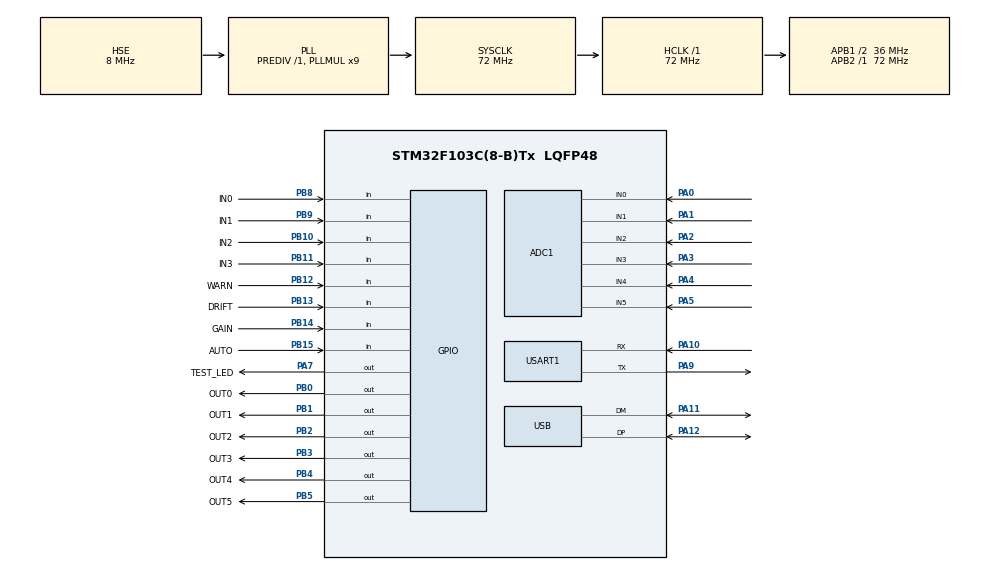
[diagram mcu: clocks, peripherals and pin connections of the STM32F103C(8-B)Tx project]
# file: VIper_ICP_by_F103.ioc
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ADC1.Channel-0\#ChannelRegularConversion=ADC_CHANNEL_0
ADC1.Channel-1\#ChannelRegularConversion=ADC_CHANNEL_1
ADC1.Channel-2\#ChannelRegularConversion=ADC_CHANNEL_2
ADC1.Channel-3\#ChannelRegularConversion=ADC_CHANNEL_3
ADC1.Channel-4\#ChannelRegularConversion=ADC_CHANNEL_4
ADC1.Channel-5\#ChannelRegularConversion=ADC_CHANNEL_5
ADC1.DiscontinuousConvMode=ENABLE
ADC1.NbrOfConversion=6
ADC1.NbrOfConversionFlag=1
ADC1.Rank-0\#ChannelRegularConversion=1
ADC1.Rank-1\#ChannelRegularConversion=2
ADC1.Rank-2\#ChannelRegularConversion=3
ADC1.Rank-3\#ChannelRegularConversion=4
ADC1.Rank-4\#ChannelRegularConversion=5
ADC1.Rank-5\#ChannelRegularConversion=6
ADC1.SamplingTime-0\#ChannelRegularConversion=ADC_SAMPLETIME_13CYCLES_5
ADC1.SamplingTime-1\#ChannelRegularConversion=ADC_SAMPLETIME_13CYCLES_5
ADC1.SamplingTime-2\#ChannelRegularConversion=ADC_SAMPLETIME_13CYCLES_5
ADC1.SamplingTime-3\#ChannelRegularConversion=ADC_SAMPLETIME_13CYCLES_5
ADC1.SamplingTime-4\#ChannelRegularConversion=ADC_SAMPLETIME_13CYCLES_5
ADC1.SamplingTime-5\#ChannelRegularConversion=ADC_SAMPLETIME_13CYCLES_5
ADC1.master=1
Mcu.Family=STM32F1
Mcu.Name=STM32F103C(8-B)Tx
Mcu.Package=LQFP48
NVIC.PriorityGroup=NVIC_PRIORITYGROUP_4
NVIC.USB_LP_CAN1_RX0_IRQn=true\:0\:0\:false\:false\:true\:false\:true\:true
PA0-WKUP.Signal=ADCx_IN0
PA1.Signal=ADCx_IN1
PA10.Mode=Asynchronous
PA10.Signal=USART1_RX
PA11.Mode=Device
PA11.Signal=USB_DM
PA12.Mode=Device
PA12.Signal=USB_DP
PA13.Mode=Serial_Wire
PA13.Signal=SYS_JTMS-SWDIO
PA14.Mode=Serial_Wire
PA14.Signal=SYS_JTCK-SWCLK
PA2.Signal=ADCx_IN2
PA3.Signal=ADCx_IN3
PA4.Signal=ADCx_IN4
PA5.Signal=ADCx_IN5
PA7.GPIO_Label=TEST_LED
PA7.Signal=GPIO_Output
PA9.Mode=Asynchronous
PA9.Signal=USART1_TX
PB0.GPIO_Label=OUT0
PB0.Signal=GPIO_Output
PB1.GPIO_Label=OUT1
PB1.Signal=GPIO_Output
PB10.GPIO_Label=IN2
PB10.Signal=GPIO_Input
PB11.GPIO_Label=IN3
PB11.Signal=GPIO_Input
PB12.GPIO_Label=WARN
PB12.GPIO_PuPd=GPIO_NOPULL
PB12.Signal=GPIO_Input
PB13.GPIO_Label=DRIFT
PB13.GPIO_PuPd=GPIO_NOPULL
PB13.Signal=GPIO_Input
PB14.GPIO_Label=GAIN
PB14.GPIO_PuPd=GPIO_NOPULL
PB14.Signal=GPIO_Input
PB15.GPIO_Label=AUTO
PB15.GPIO_PuPd=GPIO_NOPULL
PB15.Signal=GPIO_Input
PB2.GPIO_Label=OUT2
PB2.Signal=GPIO_Output
PB3.GPIO_Label=OUT3
PB3.Signal=GPIO_Output
PB4.GPIO_Label=OUT4
PB4.Signal=GPIO_Output
PB5.GPIO_Label=OUT5
PB5.Signal=GPIO_Output
PB8.GPIO_Label=IN0
PB8.Signal=GPIO_Input
PB9.GPIO_Label=IN1
PB9.Signal=GPIO_Input
PC14-OSC32_IN.Mode=LSE-External-Oscillator
PC14-OSC32_IN.Signal=RCC_OSC32_IN
PC15-OSC32_OUT.Mode=LSE-External-Oscillator
PC15-OSC32_OUT.Signal=RCC_OSC32_OUT
PD0-OSC_IN.Mode=HSE-External-Oscillator
PD0-OSC_IN.Signal=RCC_OSC_IN
PD1-OSC_OUT.Mode=HSE-External-Oscillator
PD1-OSC_OUT.Signal=RCC_OSC_OUT
ProjectManager.HeapSize=0x200
ProjectManager.StackSize=0x400
ProjectManager.TargetToolchain=STM32CubeIDE
RCC.ADCPresc=RCC_ADCPCLK2_DIV6
RCC.AHBFreq_Value=72000000
RCC.APB1CLKDivider=RCC_HCLK_DIV2
RCC.APB1Freq_Value=36000000
RCC.APB1TimFreq_Value=72000000
RCC.APB2Freq_Value=72000000
RCC.APB2TimFreq_Value=72000000
RCC.HCLKFreq_Value=72000000
RCC.PLLMUL=RCC_PLL_MUL9
RCC.SYSCLKFreq_VALUE=72000000
RCC.SYSCLKSource=RCC_SYSCLKSOURCE_PLLCLK
RCC.USBFreq_Value=48000000
RCC.USBPrescaler=RCC_USBCLKSOURCE_PLL_DIV1_5
SH.ADCx_IN0.0=ADC1_IN0,IN0
SH.ADCx_IN1.0=ADC1_IN1,IN1
SH.ADCx_IN2.0=ADC1_IN2,IN2
SH.ADCx_IN3.0=ADC1_IN3,IN3
SH.ADCx_IN4.0=ADC1_IN4,IN4
SH.ADCx_IN5.0=ADC1_IN5,IN5
USART1.VirtualMode=VM_ASYNC
USB_DEVICE.CLASS_NAME_FS=CUSTOM_HID
USB_DEVICE.CUSTOM_HID_FS_BINTERVAL=0x20
USB_DEVICE.LANGID_STRING=1041
USB_DEVICE.MANUFACTURER_STRING=Nemuro
USB_DEVICE.PID_CUSTOMHID_FS=0xa001
USB_DEVICE.PRODUCT_STRING_CUSTOMHID_FS=Viper ICP by STM32_F103C8T6
USB_DEVICE.USBD_CUSTOMHID_OUTREPORT_BUF_SIZE=63
USB_DEVICE.USBD_CUSTOM_HID_REPORT_DESC_SIZE=49
USB_DEVICE.USBD_DEBUG_LEVEL=3
USB_DEVICE.VID=6666
USB_DEVICE.VirtualMode=CustomHid
USB_DEVICE.VirtualModeFS=Custom_Hid_FS
VP_USB_DEVICE_VS_USB_DEVICE_CUSTOM_HID_FS.Mode=CUSTOM_HID_FS
board=custom

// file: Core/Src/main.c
/* USER CODE BEGIN Header */
/**
  ******************************************************************************
  * @file           : main.c
  * @brief          : Main program body
  ******************************************************************************
  * @attention
  *
  * Copyright (c) 2023 STMicroelectronics.
  * All rights reserved.
  *
  * This software is licensed under terms that can be found in the LICENSE file
  * in the root directory of this software component.
  * If no LICENSE file comes with this software, it is provided AS-IS.
  *
  ******************************************************************************
  */
/* USER CODE END Header */
#include "main.h"
#include "usb_device.h"

/* USER CODE BEGIN Includes */
#include "stm32f1xx.h"
#include "usbd_customhid.h"
/* USER CODE END Includes */

/* USER CODE BEGIN PM */
/*------EPIN size over wrap------*/
/*  --この記述上手く動かないっぽい
#ifdef CUSTOM_HID_EPIN_SIZE
	#undef CUSTOM_HID_EPIN_SIZE
	#define CUSTOM_HID_EPIN_SIZE	0x11U	//0d17
#endif
#ifndef CUSTOM_HID_EPIN_SIZE
	#define CUSTOM_HID_EPIN_SIZE	0x11U	//0d17
#endif
*/
/*------END EPIN size over wrap------*/
#define __UINT16_TO_UINT8_LOW(NUMuint16) ((uint8_t)(NUMuint16))
#define __UINT16_TO_UINT8_HIGH(NUMuint16) ((uint8_t)((NUMuint16) >> 8))
#define    cbi( addr, bit)       addr &= ~(1 << bit)    // addrのbit目を'0'にする。
#define    sbi( addr, bit)       addr |= (1 << bit)       // addrのbit目を'1'にする。
/* USER CODE END PM */

ADC_HandleTypeDef hadc1;

UART_HandleTypeDef huart1;

/* USER CODE BEGIN PV */
/*------Setting Device Inputs------*/
#define NUM_of_ADC_12bit 6
#define NUM_of_Buttons 40
/*------END Setting Device Inputs------*/
#define ADC_CONVERTED_DATA_BUFFER_SIZE	((uint32_t)	NUM_of_ADC_12bit)
#define BUTTONS_DATA_BUFFER_SIZE ((uint32_t)NUM_of_Buttons / 8)
/*------ KeyMatrix INPUT and OUTPUT Pin Counts ------*/
#define NUM_of_IN 4
#define NUM_of_OUT 6

typedef struct{
uint8_t buttons[BUTTONS_DATA_BUFFER_SIZE];
int8_t axis[NUM_of_ADC_12bit * 2];
}gamepadHID_t;
gamepadHID_t gamepadHID;

ADC_ChannelConfTypeDef sConfig;
uint16_t ADC_val[ADC_CONVERTED_DATA_BUFFER_SIZE];
uint16_t Buttos_Val[BUTTONS_DATA_BUFFER_SIZE];
/* USER CODE END PV */

void SystemClock_Config(void);
static void MX_GPIO_Init(void);
static void MX_ADC1_Init(void);
static void MX_USART1_UART_Init(void);

/* USER CODE BEGIN 0 */
static uint16_t aADCxConvertedData[ADC_CONVERTED_DATA_BUFFER_SIZE];
uint8_t GPIO[2];

void keyMatrix(gamepadHID_t *gamepad){
	uint16_t buttons[NUM_of_OUT];
	GPIOB->ODR = 0x003E;		//0011,1110	//OUT0 だけLOWにする
	buttons[0] = GPIOB->IDR & 0b0000001111000000;
	buttons[0] = buttons[0] >> 6;
	GPIOB->ODR = 0x003D;		//OUT1 だけLOWにする
	buttons[1] = GPIOB->IDR & 0b0000001111000000;
	buttons[1] = buttons[1] >> 6;
	GPIOB->ODR = 0x003B;
	buttons[2] = GPIOB->IDR & 0b0000001111000000;
	buttons[2] = buttons[2] >> 6;
	GPIOB->ODR = 0x0037;
	buttons[3] = GPIOB->IDR & 0b0000001111000000;
	buttons[3] = buttons[3] >> 6;
	GPIOB->ODR = 0x002F;
	buttons[4] = GPIOB->IDR & 0b0000001111000000;
	buttons[4] = buttons[4] >> 6;
	GPIOB->ODR = 0x001F;
	buttons[5] = GPIOB->IDR & 0b0000001111000000;
	buttons[5] = buttons[5] >> 6;
	gamepad->buttons[0] = ~(uint8_t)(buttons[0] | (buttons[1] << 4));
	gamepad->buttons[1] = ~(uint8_t)(buttons[2] | (buttons[3] << 4));
	gamepad->buttons[2] = ~(uint8_t)(buttons[4] | (buttons[5] << 4));
}
void Joy_to_Buttons(gamepadHID_t *gamepad){			//要リファクタリング  なぜなら，この関数はgamepad->[3]の6bit目など 専用関数となるから．＋ sbi,cbiマクロを利用するから
	if(gamepad->axis[3] > 100){		//DCS 上
		sbi(gamepad->buttons[3]	, 6);
		cbi(gamepad->buttons[3]	, 7);
	}else if(gamepad->axis[3] < -100){		//DCS 下
		sbi(gamepad->buttons[3]	, 7);
		cbi(gamepad->buttons[3]	, 6);
	}else{		//DCS 中立
		cbi(gamepad->buttons[3]	, 6);
		cbi(gamepad->buttons[3]	, 7);
	}
	if(gamepad->axis[1] > 100){		//DCS SEQ
		sbi(gamepad->buttons[4]	, 1);
		cbi(gamepad->buttons[4]	, 0);
	}else if(gamepad->axis[1] < -100){		//DCS RTN
		sbi(gamepad->buttons[4]	, 0);
		cbi(gamepad->buttons[4]	, 1);
	}else{		//DCS 中立
		cbi(gamepad->buttons[4]	, 0);
		cbi(gamepad->buttons[4]	, 1);
	}
}
void Way3_Switch(gamepadHID_t *gamepad){
	if(!(GPIOB->IDR & (1 << 12) )){
		sbi(gamepad->buttons[3], 2);
		cbi(gamepad->buttons[3], 1);
	}
	else if(!(GPIOB->IDR & (1 << 13))){
		sbi(gamepad->buttons[3], 0);
		cbi(gamepad->buttons[3], 1);
	}
	else{
		sbi(gamepad->buttons[3], 1);
		cbi(gamepad->buttons[3], 0);
		cbi(gamepad->buttons[3], 2);
	}
	if(!(GPIOB->IDR & (1 << 14))){
		sbi(gamepad->buttons[3], 5);
		cbi(gamepad->buttons[3], 4);
	}
	else if(!(GPIOB->IDR & (1 << 15))){
		sbi(gamepad->buttons[3], 3);
		cbi(gamepad->buttons[3], 4);
	}
	else{
		sbi(gamepad->buttons[3], 4);
		cbi(gamepad->buttons[3], 3);
		cbi(gamepad->buttons[3], 5);
	}
}
/* USER CODE END 0 */

int main(void)
{
  /* USER CODE BEGIN 1 */

	for (uint8_t i = 0; i < BUTTONS_DATA_BUFFER_SIZE; i++)
	{
		gamepadHID.buttons[i] = 0;
	}
	for (uint8_t i = 0; i < (NUM_of_ADC_12bit * 2); i++) {
		gamepadHID.axis[i] = 0;
	}
  /* USER CODE END 1 */

  /* MCU Configuration--------------------------------------------------------*/

  /* Reset of all peripherals, Initializes the Flash interface and the Systick. */
  HAL_Init();

  /* Configure the system clock */
  SystemClock_Config();

  /* Initialize all configured peripherals */
  MX_GPIO_Init();
  MX_ADC1_Init();
  MX_USART1_UART_Init();
  MX_USB_DEVICE_Init();
  /* USER CODE BEGIN 2 */
  /* ### - 4 - Start conversion  mode ################################# */
  if (HAL_ADCEx_Calibration_Start(&hadc1) !=  HAL_OK)
  {
    Error_Handler();
  }
  /* USER CODE END 2 */

  /* Infinite loop */
  /* USER CODE BEGIN WHILE */
  while (1)
  {
	  keyMatrix(&gamepadHID.buttons);
	  for(int i=0; i < NUM_of_ADC_12bit; i++){
	          HAL_ADC_Start(&hadc1);
	          HAL_ADC_PollForConversion(&hadc1, 100);
	          aADCxConvertedData[i] = HAL_ADC_GetValue(&hadc1); //12bit <<4 ~=16bit
	          aADCxConvertedData[i] = (aADCxConvertedData[i] << 4) - 0x7FF0;
	      }
	  //aADCxConvertedData[4] = aADCxConvertedData[4]*2;

	  	  //gamepadHID.buttons[0] = ~GPIO[0];
	 	  //gamepadHID.buttons[1] = ~((GPIO[1] & 0b11000000) >> 6);//gamepad buttonを左詰めにするためにLSBの方にビットシフトして???��?��??��?��?る�??

	  for(int i=0; i < NUM_of_ADC_12bit; i++){
		  gamepadHID.axis[i * 2] = __UINT16_TO_UINT8_LOW(aADCxConvertedData[i]);
		  gamepadHID.axis[(i * 2) + 1] = __UINT16_TO_UINT8_HIGH(aADCxConvertedData[i]);
	  }
	  Joy_to_Buttons(&gamepadHID);
	  Way3_Switch(&gamepadHID);

	 	//  HAL_GPIO_WritePin(OUT_D6_GPIO_Port, OUT_D6_Pin, 0);

	 	  USBD_CUSTOM_HID_SendReport(&hUsbDeviceFS, &gamepadHID, sizeof(gamepadHID_t));

    /* USER CODE END WHILE */

    /* USER CODE BEGIN 3 */
	 	  //HAL_UART_Transmit(&huart1, &gamepadHID, sizeof(struct gamepadHID_t), 100);
	 	  //HAL_UART_Transmit(&huart1, &CR, sizeof(CR), 100);
	 	  //HAL_UART_Transmit(&huart1, &aADCxConvertedData, sizeof(aADCxConvertedData[0])*5, 100);
	 	  //HAL_UART_Transmit(&huart1, &CR, sizeof(CR), 100);
  }
  /* USER CODE END 3 */
}

void SystemClock_Config(void)
{
  RCC_OscInitTypeDef RCC_OscInitStruct = {0};
  RCC_ClkInitTypeDef RCC_ClkInitStruct = {0};
  RCC_PeriphCLKInitTypeDef PeriphClkInit = {0};

  /** Initializes the RCC Oscillators according to the specified parameters
  * in the RCC_OscInitTypeDef structure.
  */
  RCC_OscInitStruct.OscillatorType = RCC_OSCILLATORTYPE_HSE;
  RCC_OscInitStruct.HSEState = RCC_HSE_ON;
  RCC_OscInitStruct.HSEPredivValue = RCC_HSE_PREDIV_DIV1;
  RCC_OscInitStruct.HSIState = RCC_HSI_ON;
  RCC_OscInitStruct.PLL.PLLState = RCC_PLL_ON;
  RCC_OscInitStruct.PLL.PLLSource = RCC_PLLSOURCE_HSE;
  RCC_OscInitStruct.PLL.PLLMUL = RCC_PLL_MUL9;
  if (HAL_RCC_OscConfig(&RCC_OscInitStruct) != HAL_OK)
  {
    Error_Handler();
  }

  /** Initializes the CPU, AHB and APB buses clocks
  */
  RCC_ClkInitStruct.ClockType = RCC_CLOCKTYPE_HCLK|RCC_CLOCKTYPE_SYSCLK
                              |RCC_CLOCKTYPE_PCLK1|RCC_CLOCKTYPE_PCLK2;
  RCC_ClkInitStruct.SYSCLKSource = RCC_SYSCLKSOURCE_PLLCLK;
  RCC_ClkInitStruct.AHBCLKDivider = RCC_SYSCLK_DIV1;
  RCC_ClkInitStruct.APB1CLKDivider = RCC_HCLK_DIV2;
  RCC_ClkInitStruct.APB2CLKDivider = RCC_HCLK_DIV1;

  if (HAL_RCC_ClockConfig(&RCC_ClkInitStruct, FLASH_LATENCY_2) != HAL_OK)
  {
    Error_Handler();
  }
  PeriphClkInit.PeriphClockSelection = RCC_PERIPHCLK_ADC|RCC_PERIPHCLK_USB;
  PeriphClkInit.AdcClockSelection = RCC_ADCPCLK2_DIV6;
  PeriphClkInit.UsbClockSelection = RCC_USBCLKSOURCE_PLL_DIV1_5;
  if (HAL_RCCEx_PeriphCLKConfig(&PeriphClkInit) != HAL_OK)
  {
    Error_Handler();
  }
}

static void MX_ADC1_Init(void)
{

  ADC_ChannelConfTypeDef sConfig = {0};

  /** Common config
  */
  hadc1.Instance = ADC1;
  hadc1.Init.ScanConvMode = ADC_SCAN_ENABLE;
  hadc1.Init.ContinuousConvMode = DISABLE;
  hadc1.Init.DiscontinuousConvMode = ENABLE;
  hadc1.Init.NbrOfDiscConversion = 1;
  hadc1.Init.ExternalTrigConv = ADC_SOFTWARE_START;
  hadc1.Init.DataAlign = ADC_DATAALIGN_RIGHT;
  hadc1.Init.NbrOfConversion = 6;
  if (HAL_ADC_Init(&hadc1) != HAL_OK)
  {
    Error_Handler();
  }

  /** Configure Regular Channel
  */
  sConfig.Channel = ADC_CHANNEL_0;
  sConfig.Rank = ADC_REGULAR_RANK_1;
  sConfig.SamplingTime = ADC_SAMPLETIME_13CYCLES_5;
  if (HAL_ADC_ConfigChannel(&hadc1, &sConfig) != HAL_OK)
  {
    Error_Handler();
  }

  /** Configure Regular Channel
  */
  sConfig.Channel = ADC_CHANNEL_1;
  sConfig.Rank = ADC_REGULAR_RANK_2;
  if (HAL_ADC_ConfigChannel(&hadc1, &sConfig) != HAL_OK)
  {
    Error_Handler();
  }

  /** Configure Regular Channel
  */
  sConfig.Channel = ADC_CHANNEL_2;
  sConfig.Rank = ADC_REGULAR_RANK_3;
  if (HAL_ADC_ConfigChannel(&hadc1, &sConfig) != HAL_OK)
  {
    Error_Handler();
  }

  /** Configure Regular Channel
  */
  sConfig.Channel = ADC_CHANNEL_3;
  sConfig.Rank = ADC_REGULAR_RANK_4;
  if (HAL_ADC_ConfigChannel(&hadc1, &sConfig) != HAL_OK)
  {
    Error_Handler();
  }

  /** Configure Regular Channel
  */
  sConfig.Channel = ADC_CHANNEL_4;
  sConfig.Rank = ADC_REGULAR_RANK_5;
  if (HAL_ADC_ConfigChannel(&hadc1, &sConfig) != HAL_OK)
  {
    Error_Handler();
  }

  /** Configure Regular Channel
  */
  sConfig.Channel = ADC_CHANNEL_5;
  sConfig.Rank = ADC_REGULAR_RANK_6;
  if (HAL_ADC_ConfigChannel(&hadc1, &sConfig) != HAL_OK)
  {
    Error_Handler();
  }

}

static void MX_USART1_UART_Init(void)
{

  huart1.Instance = USART1;
  huart1.Init.BaudRate = 115200;
  huart1.Init.WordLength = UART_WORDLENGTH_8B;
  huart1.Init.StopBits = UART_STOPBITS_1;
  huart1.Init.Parity = UART_PARITY_NONE;
  huart1.Init.Mode = UART_MODE_TX_RX;
  huart1.Init.HwFlowCtl = UART_HWCONTROL_NONE;
  huart1.Init.OverSampling = UART_OVERSAMPLING_16;
  if (HAL_UART_Init(&huart1) != HAL_OK)
  {
    Error_Handler();
  }

}

static void MX_GPIO_Init(void)
{
  GPIO_InitTypeDef GPIO_InitStruct = {0};

  /* GPIO Ports Clock Enable */
  __HAL_RCC_GPIOC_CLK_ENABLE();
  __HAL_RCC_GPIOD_CLK_ENABLE();
  __HAL_RCC_GPIOA_CLK_ENABLE();
  __HAL_RCC_GPIOB_CLK_ENABLE();

  /*Configure GPIO pin Output Level */
  HAL_GPIO_WritePin(TEST_LED_GPIO_Port, TEST_LED_Pin, GPIO_PIN_RESET);

  /*Configure GPIO pin Output Level */
  HAL_GPIO_WritePin(GPIOB, OUT0_Pin|OUT1_Pin|OUT2_Pin|OUT3_Pin
                          |OUT4_Pin|OUT5_Pin, GPIO_PIN_RESET);

  /*Configure GPIO pin : TEST_LED_Pin */
  GPIO_InitStruct.Pin = TEST_LED_Pin;
  GPIO_InitStruct.Mode = GPIO_MODE_OUTPUT_PP;
  GPIO_InitStruct.Pull = GPIO_NOPULL;
  GPIO_InitStruct.Speed = GPIO_SPEED_FREQ_LOW;
  HAL_GPIO_Init(TEST_LED_GPIO_Port, &GPIO_InitStruct);

  /*Configure GPIO pins : OUT0_Pin OUT1_Pin OUT2_Pin OUT3_Pin
                           OUT4_Pin OUT5_Pin */
  GPIO_InitStruct.Pin = OUT0_Pin|OUT1_Pin|OUT2_Pin|OUT3_Pin
                          |OUT4_Pin|OUT5_Pin;
  GPIO_InitStruct.Mode = GPIO_MODE_OUTPUT_PP;
  GPIO_InitStruct.Pull = GPIO_NOPULL;
  GPIO_InitStruct.Speed = GPIO_SPEED_FREQ_LOW;
  HAL_GPIO_Init(GPIOB, &GPIO_InitStruct);

  /*Configure GPIO pins : IN2_Pin IN3_Pin WARN_Pin DRIFT_Pin
                           GAIN_Pin AUTO_Pin IN0_Pin IN1_Pin */
  GPIO_InitStruct.Pin = IN2_Pin|IN3_Pin|WARN_Pin|DRIFT_Pin
                          |GAIN_Pin|AUTO_Pin|IN0_Pin|IN1_Pin;
  GPIO_InitStruct.Mode = GPIO_MODE_INPUT;
  GPIO_InitStruct.Pull = GPIO_NOPULL;
  HAL_GPIO_Init(GPIOB, &GPIO_InitStruct);

}

void Error_Handler(void)
{
  __disable_irq();
  while (1)
  {
  }
}
